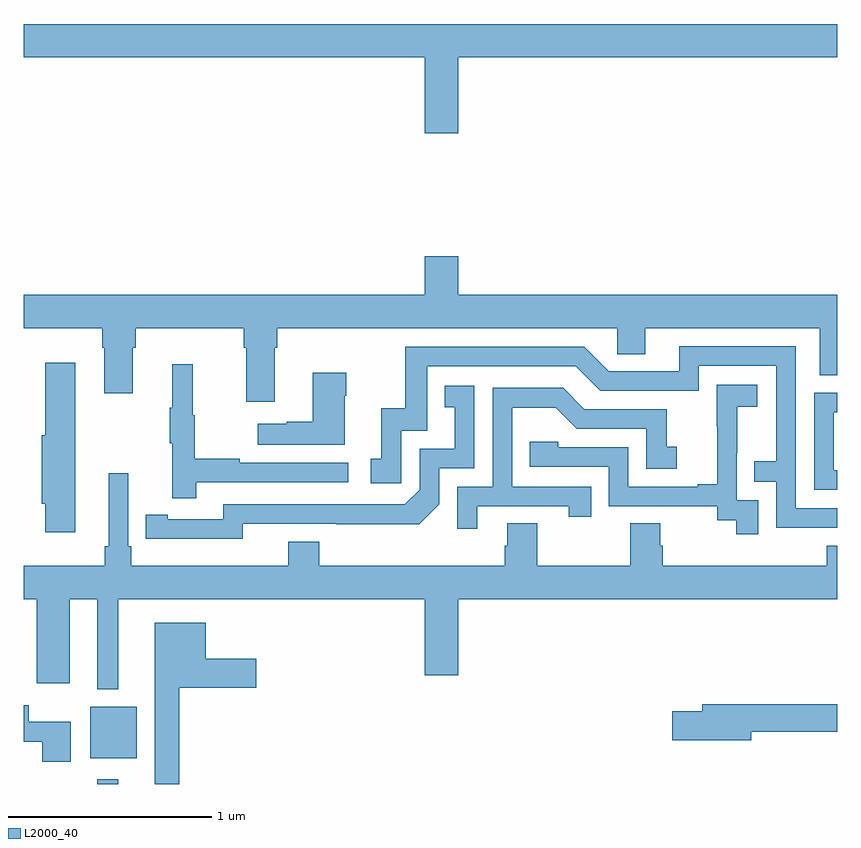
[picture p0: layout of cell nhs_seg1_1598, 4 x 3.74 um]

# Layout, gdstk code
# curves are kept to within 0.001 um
import gdstk
lib = gdstk.Library(unit=1e-6, precision=1e-09)
def R(c, l, rs):  # rectangles x0, y0, x1, y1
    for r in rs: c.add(gdstk.rectangle(r[:2], r[2:], *l))
def P(c, l, *ps):  # polygons
    for p in ps: c.add(gdstk.Polygon(p, *l))
L2000_40 = (2000, 40)

nhs_seg1_1598 = lib.new_cell('nhs_seg1_1598')
R(nhs_seg1_1598, L2000_40, [(199.361,508.199,199.465,508.222), (199.328,508.325,199.555,508.579)])
P(nhs_seg1_1598, L2000_40, [(201.136,511.772),(203,511.772),(203,511.936),(199,511.936),(199,511.772),(200.972,511.772),(200.972,511.398),(201.136,511.398)],
  [(200.233,510.344),(200.246,510.344),(200.246,510.44),(201.918,510.44),(201.918,510.313),(202.057,510.313),(202.057,510.44),(202.913,510.44),(202.913,510.208),(203,510.208),(203,510.604),(201.136,510.604),(201.136,510.793),(200.972,510.793),(200.972,510.604),(199,510.604),(199,510.44),(199.385,510.44),(199.385,510.344),(199.397,510.344),(199.397,510.12),(199.537,510.12),(199.537,510.344),(199.55,510.344),(199.55,510.44),(200.081,510.44),(200.081,510.344),(200.093,510.344),(200.093,510.078),(200.233,510.078)],
  [(203,509.556),(202.797,509.556),(202.797,510.351),(202.223,510.351),(202.223,510.228),(201.876,510.228),(201.756,510.348),(200.877,510.348),(200.877,510.046),(200.759,510.046),(200.759,509.799),(200.706,509.799),(200.706,509.679),(200.856,509.679),(200.856,509.937),(200.985,509.937),(200.985,510.252),(201.714,510.252),(201.834,510.132),(202.32,510.132),(202.32,510.255),(202.701,510.255),(202.701,509.786),(202.591,509.786),(202.591,509.685),(202.701,509.685),(202.701,509.46),(203,509.46)],
  [(199.252,510.271),(199.106,510.271),(199.106,509.913),(199.088,509.913),(199.088,509.577),(199.106,509.577),(199.106,509.436),(199.252,509.436)],
  [(199.847,509.682),(200.596,509.682),(200.596,509.778),(200.063,509.778),(200.063,509.798),(199.84,509.798),(199.84,510.012),(199.832,510.012),(199.832,510.262),(199.73,510.262),(199.73,510.049),(199.719,510.049),(199.719,509.875),(199.73,509.875),(199.73,509.604),(199.847,509.604)],
  [(200.578,510.107),(200.586,510.107),(200.586,510.22),(200.42,510.22),(200.42,509.981),(200.294,509.981),(200.294,509.971),(200.151,509.971),(200.151,509.867),(200.578,509.867)],
  [(202.611,509.595),(202.506,509.595),(202.506,509.825),(202.508,509.825),(202.508,510.053),(202.606,510.053),(202.606,510.163),(202.408,510.163),(202.408,509.957),(202.409,509.957),(202.409,509.674),(202.313,509.674),(202.313,509.661),(201.972,509.661),(201.972,509.856),(201.627,509.856),(201.627,509.883),(201.487,509.883),(201.487,509.76),(201.876,509.76),(201.876,509.565),(202.41,509.565),(202.41,509.497),(202.503,509.497),(202.503,509.427),(202.611,509.427)],
  [(200.076,509.478),(200.944,509.477),(201.042,509.574),(201.042,509.751),(201.216,509.751),(201.216,510.157),(201.07,510.157),(201.07,510.051),(201.119,510.051),(201.119,509.847),(200.946,509.847),(200.946,509.646),(200.874,509.574),(199.98,509.574),(199.98,509.502),(199.708,509.502),(199.708,509.522),(199.6,509.522),(199.6,509.406),(200.076,509.405)],
  [(201.229,509.565),(201.68,509.565),(201.68,509.514),(201.791,509.514),(201.791,509.661),(201.402,509.661),(201.402,510.05),(201.616,510.05),(201.72,509.946),(202.062,509.946),(202.062,509.748),(202.21,509.748),(202.21,509.857),(202.161,509.857),(202.161,510.042),(201.757,510.042),(201.652,510.147),(201.306,510.147),(201.306,509.661),(201.132,509.661),(201.132,509.454),(201.229,509.454)],
  [(203,509.742),(202.983,509.742),(202.983,510.027),(203,510.027),(203,510.123),(202.887,510.123),(202.887,509.646),(203,509.646)],
  [(199.465,509.108),(200.972,509.108),(200.972,508.734),(201.136,508.734),(201.136,509.108),(203,509.108),(203,509.371),(202.949,509.371),(202.949,509.272),(202.142,509.272),(202.142,509.37),(202.129,509.37),(202.129,509.48),(201.982,509.48),(201.982,509.272),(201.525,509.272),(201.525,509.48),(201.377,509.48),(201.377,509.37),(201.365,509.37),(201.365,509.272),(200.453,509.272),(200.453,509.389),(200.3,509.389),(200.3,509.272),(199.529,509.272),(199.529,509.368),(199.515,509.368),(199.515,509.728),(199.418,509.728),(199.418,509.368),(199.399,509.368),(199.399,509.272),(199,509.272),(199,509.108),(199.064,509.108),(199.064,508.695),(199.225,508.695),(199.225,509.108),(199.361,509.108),(199.361,508.664),(199.465,508.664)],
  [(199.765,508.673),(200.143,508.673),(200.143,508.815),(199.894,508.815),(199.894,508.993),(199.643,508.993),(199.643,508.199),(199.765,508.199)],
  [(202.576,508.456),(203,508.456),(203,508.592),(202.337,508.592),(202.337,508.556),(202.188,508.556),(202.188,508.414),(202.576,508.414)],
  [(199.231,508.505),(199.024,508.505),(199.024,508.585),(199,508.585),(199,508.406),(199.091,508.406),(199.091,508.308),(199.231,508.308)])

lib.write_gds('nhs_seg1_1598.gds')
